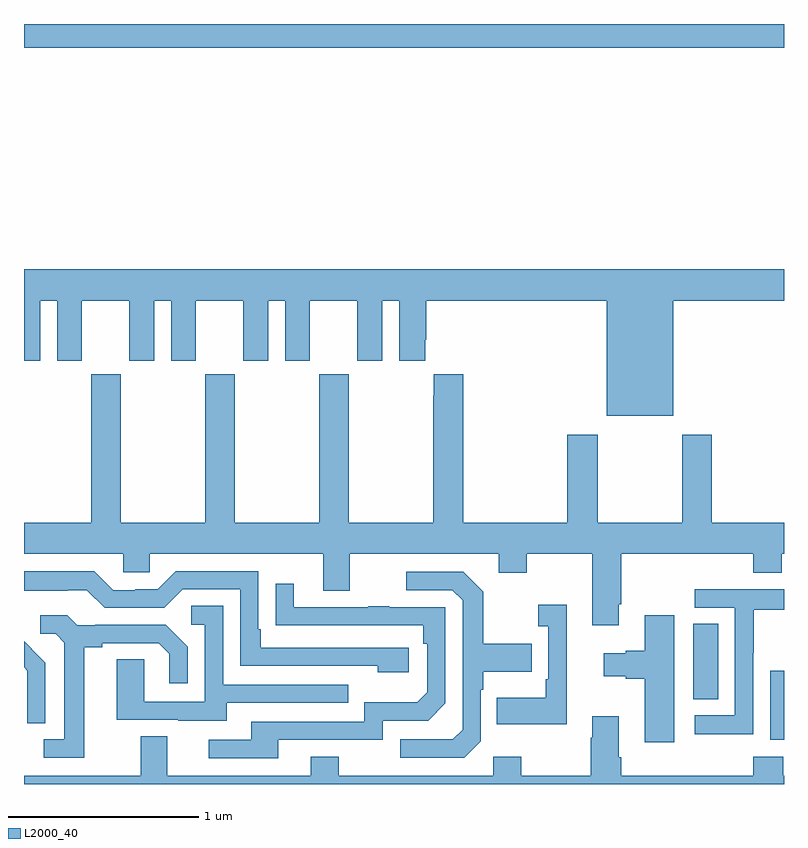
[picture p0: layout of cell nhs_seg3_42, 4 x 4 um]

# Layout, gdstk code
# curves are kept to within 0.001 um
import gdstk
lib = gdstk.Library(unit=1e-6, precision=1e-09)
def R(c, l, rs):  # rectangles x0, y0, x1, y1
    for r in rs: c.add(gdstk.rectangle(r[:2], r[2:], *l))
def P(c, l, *ps):  # polygons
    for p in ps: c.add(gdstk.Polygon(p, *l))
L2000_40 = (2000, 40)

nhs_seg3_42 = lib.new_cell('nhs_seg3_42')
R(nhs_seg3_42, L2000_40, [(116.927,670.634,117,670.995), (116.522,670.846,116.653,671.243), (113,674.276,117,674.4)])
P(nhs_seg3_42, L2000_40, [(116.416,672.944),(117,672.944),(117,673.108),(113,673.108),(113,672.627),(113.086,672.627),(113.086,672.944),(113.174,672.944),(113.174,672.627),(113.305,672.627),(113.305,672.944),(113.555,672.944),(113.555,672.627),(113.686,672.627),(113.686,672.944),(113.774,672.944),(113.774,672.627),(113.905,672.627),(113.905,672.944),(114.155,672.944),(114.155,672.627),(114.286,672.627),(114.286,672.944),(114.374,672.944),(114.374,672.627),(114.505,672.627),(114.505,672.944),(114.755,672.944),(114.755,672.627),(114.886,672.627),(114.886,672.944),(114.974,672.944),(114.974,672.627),(115.111,672.627),(115.111,672.739),(115.118,672.739),(115.118,672.944),(116.066,672.944),(116.066,672.338),(116.416,672.338)],
  [(116.131,671.347),(116.144,671.347),(116.144,671.612),(116.837,671.612),(116.837,671.513),(116.989,671.513),(116.989,671.612),(117,671.612),(117,671.776),(116.619,671.776),(116.619,672.238),(116.464,672.238),(116.464,671.776),(116.019,671.776),(116.019,672.238),(115.859,672.238),(115.859,671.776),(115.313,671.776),(115.313,672.556),(115.157,672.556),(115.157,672.443),(115.153,672.443),(115.153,671.776),(114.708,671.776),(114.708,672.556),(114.553,672.556),(114.553,671.776),(114.108,671.776),(114.108,672.556),(113.953,672.556),(113.953,671.776),(113.508,671.776),(113.508,672.556),(113.353,672.556),(113.353,671.776),(113,671.776),(113,671.612),(113.523,671.612),(113.523,671.514),(113.661,671.514),(113.661,671.612),(114.575,671.612),(114.575,671.418),(114.715,671.418),(114.715,671.612),(115.499,671.612),(115.499,671.513),(115.647,671.513),(115.647,671.612),(115.991,671.612),(115.991,671.235),(116.131,671.235)],
  [(115.024,671.118),(114.247,671.118),(114.247,671.215),(114.234,671.215),(114.234,671.52),(113.799,671.52),(113.703,671.424),(113.585,671.424),(113.585,671.421),(113.469,671.421),(113.369,671.521),(113,671.521),(113,671.417),(113.231,671.417),(113.231,671.421),(113.331,671.421),(113.424,671.328),(113.739,671.328),(113.835,671.424),(114.138,671.424),(114.138,671.022),(114.863,671.022),(114.863,670.988),(115.024,670.988)],
  [(115.404,670.626),(115.404,670.895),(115.417,670.895),(115.417,670.991),(115.673,670.991),(115.673,671.139),(115.417,671.139),(115.417,671.411),(115.311,671.517),(115.011,671.517),(115.011,671.421),(115.254,671.421),(115.308,671.367),(115.308,670.686),(115.257,670.635),(114.981,670.635),(114.981,670.539),(115.317,670.539)],
  [(114.337,670.632),(114.888,670.632),(114.888,670.734),(115.128,670.734),(115.218,670.824),(115.218,671.331),(114.923,671.331),(114.923,671.336),(114.811,671.336),(114.811,671.331),(114.421,671.331),(114.421,671.455),(114.325,671.455),(114.325,671.236),(115.102,671.235),(115.102,671.138),(115.122,671.138),(115.122,670.884),(115.069,670.831),(114.792,670.831),(114.792,670.728),(114.197,670.728),(114.197,670.632),(113.973,670.632),(113.973,670.536),(114.337,670.536)],
  [(116.838,671.092),(116.841,671.092),(116.841,671.316),(117,671.316),(117,671.424),(116.529,671.424),(116.529,671.328),(116.742,671.328),(116.742,670.761),(116.529,670.761),(116.529,670.663),(116.838,670.663)],
  [(115.856,671.344),(115.707,671.344),(115.707,671.231),(115.758,671.231),(115.758,670.951),(115.746,670.951),(115.746,670.855),(115.489,670.855),(115.489,670.715),(115.856,670.715)],
  [(114.067,670.827),(114.707,670.827),(114.707,670.923),(114.048,670.923),(114.048,671.339),(113.88,671.339),(113.88,671.238),(113.952,671.238),(113.952,670.833),(113.634,670.833),(113.634,671.057),(113.489,671.057),(113.489,670.737),(113.813,670.737),(113.813,670.733),(114.067,670.733)],
  [(113.317,671.12),(113.413,671.12),(113.413,671.142),(113.708,671.142),(113.765,671.085),(113.765,670.929),(113.862,670.929),(113.862,671.122),(113.746,671.238),(113.374,671.238),(113.374,671.235),(113.28,671.235),(113.228,671.287),(113.085,671.287),(113.085,671.19),(113.166,671.19),(113.213,671.143),(113.213,670.635),(113.103,670.635),(113.103,670.539),(113.317,670.539)],
  [(116.422,671.287),(116.267,671.287),(116.267,671.102),(116.168,671.102),(116.168,671.089),(116.052,671.089),(116.052,670.967),(116.168,670.967),(116.168,670.955),(116.267,670.955),(116.267,670.62),(116.422,670.62)],
  [(113.112,671.038),(113.039,671.111),(113.04,671.112),(113,671.152),(113,671.015),(113.018,670.997),(113.018,670.874),(113.016,670.874),(113.016,670.72),(113.112,670.72)],
  [(117,670.444),(116.997,670.444),(116.997,670.543),(116.837,670.543),(116.837,670.444),(116.144,670.444),(116.144,670.54),(116.131,670.54),(116.131,670.756),(115.991,670.756),(115.991,670.643),(115.984,670.643),(115.984,670.444),(115.617,670.444),(115.617,670.543),(115.47,670.543),(115.47,670.444),(114.657,670.444),(114.657,670.543),(114.509,670.543),(114.509,670.444),(113.755,670.444),(113.755,670.652),(113.615,670.652),(113.615,670.444),(113,670.444),(113,670.4),(117,670.4)])

lib.write_gds('nhs_seg3_42.gds')
